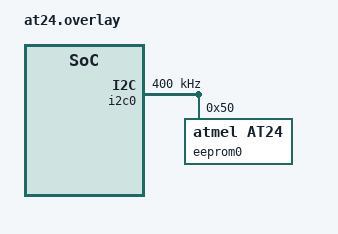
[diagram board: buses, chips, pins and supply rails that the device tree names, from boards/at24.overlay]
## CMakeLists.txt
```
# SPDX-License-Identifier: Apache-2.0

cmake_minimum_required(VERSION 3.28.0)
find_package(Zephyr REQUIRED HINTS $ENV{ZEPHYR_BASE})
project(i2c_at24)

# Board vendors should provide boards/<BOARD>.overlay (or pass
# EXTRA_DTC_OVERLAY_FILE) with an AT24-compatible EEPROM description.
# Zephyr's standard overlay discovery handles that automatically.
target_sources(app PRIVATE src/i2c_at24.c)
```

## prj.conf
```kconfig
CONFIG_I2C=y
CONFIG_ZTEST=y
CONFIG_EEPROM=n
```

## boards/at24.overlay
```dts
/*
 * Copyright (c) 2025 Alif Semiconductor
 *
 * SPDX-License-Identifier: Apache-2.0
 */

/*
 * Example board overlay for this test.
 *
 * Copy this to boards/<BOARD>.overlay, or pass it through
 * EXTRA_DTC_OVERLAY_FILE, then update the bus instance and EEPROM
 * properties to match the actual AT24-compatible device on the board.
 *
 * If the board has more than one AT24-compatible EEPROM, keep the
 * standard eeprom-0 alias so the test can select the intended target.
 */

/ {
	aliases {
		eeprom-0 = &eeprom0;
	};
};

&i2c0 {
	status = "okay";
	/* Set this to the bus speed the board wiring and EEPROM support. */
	clock-frequency = <I2C_BITRATE_FAST>;

	eeprom0: eeprom@50 {
		compatible = "atmel,at24";
		reg = <0x50>;
		size = <256>;
		pagesize = <8>;
		address-width = <8>;
		timeout = <5>;
	};
};
```

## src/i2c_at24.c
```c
/*
 * Copyright (c) 2025 Alif Semiconductor
 *
 * SPDX-License-Identifier: Apache-2.0
 */

/*
 * I2C controller driver test using AT24 EEPROM as target fixture.
 * Validates raw I2C, RTIO, and PM APIs.
 * CONFIG_EEPROM=n prevents driver contention.
 */

#include <string.h>
#include <zephyr/drivers/i2c.h>
#include <zephyr/kernel.h>
#include <zephyr/ztest.h>

#ifdef CONFIG_PM_DEVICE_RUNTIME
#include <zephyr/pm/device_runtime.h>
#endif

#if DT_NODE_HAS_STATUS_OKAY(DT_ALIAS(eeprom_0)) && \
	DT_NODE_HAS_COMPAT(DT_ALIAS(eeprom_0), atmel_at24)
#define EEPROM_NODE DT_ALIAS(eeprom_0)
#elif DT_NUM_INST_STATUS_OKAY(atmel_at24) == 1
#define EEPROM_NODE DT_COMPAT_GET_ANY_STATUS_OKAY(atmel_at24)
#elif DT_HAS_COMPAT_STATUS_OKAY(atmel_at24)
#error "Multiple AT24 EEPROMs found; define the 'eeprom-0' alias to select one"
#else
#error "Add an enabled AT24-compatible EEPROM node or define " \
	"the 'eeprom-0' alias"
#endif

#define EEPROM_SIZE		DT_PROP(EEPROM_NODE, size)
#define PAGE_SIZE		DT_PROP(EEPROM_NODE, pagesize)
#define ADDR_WIDTH		DT_PROP(EEPROM_NODE, address_width)
#define ADDR_BYTES		(ADDR_WIDTH / 8)
#define EEPROM_WRITE_TIME_MS	DT_PROP(EEPROM_NODE, timeout)

BUILD_ASSERT((ADDR_WIDTH == 8) || (ADDR_WIDTH == 16),
	     "EEPROM address-width must be 8 or 16 bits");
BUILD_ASSERT((ADDR_WIDTH % 8) == 0,
	     "EEPROM address-width must be a whole number of bytes");
BUILD_ASSERT(PAGE_SIZE > 0, "EEPROM pagesize must be greater than zero");
BUILD_ASSERT(EEPROM_SIZE > 0, "EEPROM size must be greater than zero");
BUILD_ASSERT(PAGE_SIZE <= EEPROM_SIZE,
	     "EEPROM pagesize must not exceed the total device size");
BUILD_ASSERT(!DT_PROP_OR(EEPROM_NODE, read_only, 0),
	     "i2c_at24 test requires a writable EEPROM");
BUILD_ASSERT(IS_POWER_OF_TWO(PAGE_SIZE),
	     "EEPROM pagesize must be a power of two");

#define TEST_AREA_BASE 0x00

#define UNCLAIMABLE_I2C_ADDR 0x7f

static const struct i2c_dt_spec eeprom = I2C_DT_SPEC_GET(EEPROM_NODE);
static uint8_t tx_buf[ADDR_BYTES + PAGE_SIZE];
static uint8_t rx_buf[PAGE_SIZE];

/* Encode EEPROM memory address into buffer (8 or 16 bit). */
static void eeprom_addr_encode(uint8_t *buf, uint16_t mem_addr)
{
	if (ADDR_BYTES == 2) {
		buf[0] = (uint8_t)(mem_addr >> 8);
		buf[1] = (uint8_t)(mem_addr & 0xFF);
	} else {
		buf[0] = (uint8_t)(mem_addr & 0xFF);
	}
}

/* Write up to one page to EEPROM (blocking). */
static void eeprom_page_write(uint16_t mem_addr, const uint8_t *data,
			      size_t len)
{
	int ret;

	zassert_true(len <= PAGE_SIZE, "Write exceeds page size");
	eeprom_addr_encode(tx_buf, mem_addr);
	memcpy(&tx_buf[ADDR_BYTES], data, len);

	ret = i2c_write(eeprom.bus, tx_buf, ADDR_BYTES + len, eeprom.addr);
	zassert_ok(ret, "EEPROM page write failed: %d", ret);
	k_msleep(EEPROM_WRITE_TIME_MS);
}

/* Read from EEPROM using write-read transaction (blocking). */
static void eeprom_read(uint16_t mem_addr, uint8_t *buf, size_t len)
{
	uint8_t addr_buf[ADDR_BYTES];
	int ret;

	eeprom_addr_encode(addr_buf, mem_addr);
	ret = i2c_write_read(eeprom.bus, eeprom.addr, addr_buf,
			     ADDR_BYTES, buf, len);
	zassert_ok(ret, "EEPROM read failed: %d", ret);
}

/* Fill buffer with incrementing pattern starting from seed. */
static void fill_pattern(uint8_t *buf, size_t len, uint8_t seed)
{
	for (size_t i = 0; i < len; i++) {
		buf[i] = (seed + (uint8_t)i) & 0xFF;
	}
}

/* Test suite setup: verify I2C bus is ready. */
static void *i2c_at24_setup(void)
{
	zassert_true(i2c_is_ready_dt(&eeprom), "I2C bus device is not ready");
	return NULL;
}

/* Pre-test hook: clear buffers, acquire PM runtime if enabled. */
static void i2c_at24_before(void *f)
{
	ARG_UNUSED(f);
	memset(rx_buf, 0, sizeof(rx_buf));
	memset(tx_buf, 0, sizeof(tx_buf));

#ifdef CONFIG_PM_DEVICE_RUNTIME
	pm_device_runtime_get(eeprom.bus);
#endif
}

/* Post-test hook: release PM runtime if enabled. */
static void i2c_at24_after(void *f)
{
	ARG_UNUSED(f);

#ifdef CONFIG_PM_DEVICE_RUNTIME
	pm_device_runtime_put(eeprom.bus);
#endif
}

/* Test basic page write and read. */
ZTEST(i2c_at24, test_write_read_basic)
{
	uint8_t pattern[PAGE_SIZE];

	fill_pattern(pattern, sizeof(pattern), 0xA0);
	eeprom_page_write(TEST_AREA_BASE, pattern, sizeof(pattern));
	eeprom_read(TEST_AREA_BASE, rx_buf, sizeof(pattern));

	zassert_mem_equal(pattern, rx_buf, sizeof(pattern),
			  "Basic write/read data mismatch");
}

/* Test repeated-start read transfer. */
ZTEST(i2c_at24, test_transfer_restart)
{
	struct i2c_msg msgs[2];
	uint8_t addr_buf[ADDR_BYTES];
	uint8_t pattern[PAGE_SIZE];
	int ret;

	fill_pattern(pattern, sizeof(pattern), 0xB0);
	eeprom_page_write(TEST_AREA_BASE, pattern, sizeof(pattern));

	eeprom_addr_encode(addr_buf, TEST_AREA_BASE);

	msgs[0].buf = addr_buf;
	msgs[0].len = ADDR_BYTES;
	msgs[0].flags = I2C_MSG_WRITE;

	msgs[1].buf = rx_buf;
	msgs[1].len = sizeof(pattern);
	msgs[1].flags = I2C_MSG_RESTART | I2C_MSG_READ | I2C_MSG_STOP;

	ret = i2c_transfer(eeprom.bus, msgs, 2, eeprom.addr);
	zassert_ok(ret, "i2c_transfer (restart read) failed: %d", ret);

	zassert_mem_equal(pattern, rx_buf, sizeof(pattern),
			  "Data mismatch on transfer restart read");
}

/* Test burst write/read helpers (8-bit address devices only). */
ZTEST(i2c_at24, test_burst_write_read)
{
	uint8_t pattern[PAGE_SIZE];
	int ret;

	if (ADDR_BYTES != 1) {
		ztest_test_skip();
		return;
	}

	fill_pattern(pattern, sizeof(pattern), 0xC0);

	ret = i2c_burst_write(eeprom.bus, eeprom.addr,
				(uint8_t)TEST_AREA_BASE, pattern,
				sizeof(pattern));
	zassert_ok(ret, "i2c_burst_write failed: %d", ret);
	k_msleep(EEPROM_WRITE_TIME_MS);

	ret = i2c_burst_read(eeprom.bus, eeprom.addr,
			     (uint8_t)TEST_AREA_BASE, rx_buf,
			     sizeof(pattern));
	zassert_ok(ret, "i2c_burst_read failed: %d", ret);

	zassert_mem_equal(pattern, rx_buf, sizeof(pattern),
			  "Burst write/read data mismatch");
}

/* Test register byte read/write (8-bit address devices only). */
ZTEST(i2c_at24, test_reg_byte_rw)
{
	uint8_t val;
	int ret;

	if (ADDR_BYTES != 1) {
		ztest_test_skip();
		return;
	}

	ret = i2c_reg_write_byte(eeprom.bus, eeprom.addr,
				 (uint8_t)TEST_AREA_BASE, 0x5A);
	zassert_ok(ret, "i2c_reg_write_byte failed: %d", ret);
	k_msleep(EEPROM_WRITE_TIME_MS);

	ret = i2c_reg_read_byte(eeprom.bus, eeprom.addr,
				(uint8_t)TEST_AREA_BASE, &val);
	zassert_ok(ret, "i2c_reg_read_byte failed: %d", ret);
	zassert_equal(val, 0x5A,
		      "reg byte mismatch: expected 0x5A got 0x%02x",
		      val);
}

/* Test register byte update (8-bit address devices only). */
ZTEST(i2c_at24, test_reg_update_byte)
{
	uint8_t val;
	int ret;

	if (ADDR_BYTES != 1) {
		ztest_test_skip();
		return;
	}

	ret = i2c_reg_write_byte(eeprom.bus, eeprom.addr,
				 (uint8_t)TEST_AREA_BASE, 0xFF);
	zassert_ok(ret, "Pre-write failed: %d", ret);
	k_msleep(EEPROM_WRITE_TIME_MS);

	ret = i2c_reg_update_byte(eeprom.bus, eeprom.addr,
				  (uint8_t)TEST_AREA_BASE, 0x0F, 0x00);
	zassert_ok(ret, "i2c_reg_update_byte failed: %d", ret);
	k_msleep(EEPROM_WRITE_TIME_MS);

	ret = i2c_reg_read_byte(eeprom.bus, eeprom.addr,
				(uint8_t)TEST_AREA_BASE, &val);
	zassert_ok(ret, "Post-update read failed: %d", ret);
	zassert_equal(val, 0xF0,
		      "reg_update_byte: expected 0xF0 got 0x%02x",
		      val);
}

/* Test NACK response from invalid address. */
ZTEST(i2c_at24, test_nack_invalid_addr)
{
	uint8_t dummy;
	int ret;
	uint16_t bad_addr = UNCLAIMABLE_I2C_ADDR;

	ret = i2c_read(eeprom.bus, &dummy, 1, bad_addr);
	zassert_equal(ret, -EIO, "Expected -EIO for invalid addr, got %d", ret);

	eeprom_read(TEST_AREA_BASE, rx_buf, 1);
}

/* Test bus recovery (skipped if not supported). */
ZTEST(i2c_at24, test_bus_recovery)
{
	int ret;

	ret = i2c_recover_bus(eeprom.bus);
	if (ret == -ENOSYS) {
		ztest_test_skip();
		return;
	}

	zassert_ok(ret, "i2c_recover_bus failed: %d", ret);

	eeprom_read(TEST_AREA_BASE, rx_buf, 1);
}

/* Test data integrity with multiple patterns. */
ZTEST(i2c_at24, test_data_integrity_patterns)
{
	static const uint8_t seeds[] = {0x00, 0x55, 0xAA, 0xFF};
	uint8_t pattern[PAGE_SIZE];

	for (size_t i = 0; i < ARRAY_SIZE(seeds); i++) {
		fill_pattern(pattern, sizeof(pattern), seeds[i]);
		eeprom_page_write(TEST_AREA_BASE, pattern, sizeof(pattern));
		eeprom_read(TEST_AREA_BASE, rx_buf, sizeof(pattern));
		zassert_mem_equal(pattern, rx_buf, sizeof(pattern),
				  "Data integrity failed for seed 0x%02x",
				  seeds[i]);
	}
}

/* Test multi-message scatter-gather write. */
ZTEST(i2c_at24, test_transfer_multi_msg_write)
{
	struct i2c_msg msgs[2];
	uint8_t addr_buf[ADDR_BYTES];
	uint8_t pattern[PAGE_SIZE];
	int ret;

	fill_pattern(pattern, sizeof(pattern), 0xD0);
	eeprom_addr_encode(addr_buf, TEST_AREA_BASE);

	msgs[0].buf = addr_buf;
	msgs[0].len = ADDR_BYTES;
	msgs[0].flags = I2C_MSG_WRITE;

	msgs[1].buf = pattern;
	msgs[1].len = sizeof(pattern);
	msgs[1].flags = I2C_MSG_WRITE | I2C_MSG_STOP;

	ret = i2c_transfer(eeprom.bus, msgs, 2, eeprom.addr);
	zassert_ok(ret, "Multi-msg write failed: %d", ret);
	k_msleep(EEPROM_WRITE_TIME_MS);

	eeprom_read(TEST_AREA_BASE, rx_buf, sizeof(pattern));
	zassert_mem_equal(pattern, rx_buf, sizeof(pattern),
			  "Data mismatch on scatter-gather write");
}

/* Test consecutive reads return identical data. */
ZTEST(i2c_at24, test_read_consistency)
{
	uint8_t rd1[PAGE_SIZE];
	uint8_t rd2[PAGE_SIZE];
	uint8_t pattern[PAGE_SIZE];

	fill_pattern(pattern, sizeof(pattern), 0xE0);
	eeprom_page_write(TEST_AREA_BASE, pattern, sizeof(pattern));

	eeprom_read(TEST_AREA_BASE, rd1, sizeof(rd1));
	eeprom_read(TEST_AREA_BASE, rd2, sizeof(rd2));

	zassert_mem_equal(rd1, rd2, sizeof(rd1),
			  "Consecutive reads returned different data");
	zassert_mem_equal(pattern, rd1, sizeof(pattern),
			  "Read data does not match written pattern");
}

#ifdef CONFIG_I2C_CALLBACK
static K_SEM_DEFINE(cb_sem, 0, 1);

/* Async transfer completion callback. */
static void eeprom_transfer_cb(const struct device *dev, int result, void *data)
{
	ARG_UNUSED(dev);
	ARG_UNUSED(data);

	zassert_ok(result, "Async transfer error: %d", result);
	k_sem_give(&cb_sem);
}

/* Test async callback transfer (skipped if not supported). */
ZTEST(i2c_at24, test_transfer_async_cb)
{
	struct i2c_msg msgs[2];
	uint8_t addr_buf[ADDR_BYTES];
	uint8_t pattern[PAGE_SIZE];
	int ret;

	fill_pattern(pattern, sizeof(pattern), 0xF0);
	eeprom_page_write(TEST_AREA_BASE, pattern, sizeof(pattern));

	eeprom_addr_encode(addr_buf, TEST_AREA_BASE);

	msgs[0].buf = addr_buf;
	msgs[0].len = ADDR_BYTES;
	msgs[0].flags = I2C_MSG_WRITE;

	msgs[1].buf = rx_buf;
	msgs[1].len = sizeof(pattern);
	msgs[1].flags = I2C_MSG_RESTART | I2C_MSG_READ | I2C_MSG_STOP;

	k_sem_reset(&cb_sem);

	ret = i2c_transfer_cb_dt(&eeprom, msgs, ARRAY_SIZE(msgs),
				 eeprom_transfer_cb, NULL);
	if (ret == -ENOSYS) {
		ztest_test_skip();
		return;
	}

	zassert_ok(ret, "i2c_transfer_cb failed: %d", ret);

	zassert_ok(k_sem_take(&cb_sem, K_MSEC(1000)),
		   "Async callback timed out");

	zassert_mem_equal(pattern, rx_buf, sizeof(pattern),
			  "Async read data mismatch");
}
#endif /* CONFIG_I2C_CALLBACK */

#ifdef CONFIG_I2C_RTIO
#include <zephyr/rtio/rtio.h>

I2C_DT_IODEV_DEFINE(eeprom_iodev, EEPROM_NODE);
RTIO_DEFINE(eeprom_rtio, 8, 8);

/* Write up to one page using RTIO. */
static void eeprom_page_write_rtio(uint16_t mem_addr, const uint8_t *data,
				     size_t len)
{
	struct rtio_sqe *sqe;
	struct rtio_cqe *cqe;
	int ret;

	zassert_true(len <= PAGE_SIZE, "Write exceeds page size");
	eeprom_addr_encode(tx_buf, mem_addr);
	memcpy(&tx_buf[ADDR_BYTES], data, len);

	sqe = rtio_sqe_acquire(&eeprom_rtio);
	zassert_not_null(sqe, "SQE pool exhausted");
	rtio_sqe_prep_write(sqe, &eeprom_iodev, RTIO_PRIO_NORM,
			    tx_buf, ADDR_BYTES + len, NULL);
	sqe->iodev_flags |= RTIO_IODEV_I2C_STOP;

	ret = rtio_submit(&eeprom_rtio, 1);
	zassert_ok(ret, "RTIO submit failed: %d", ret);

	do {
		cqe = rtio_cqe_consume(&eeprom_rtio);
	} while (cqe == NULL);
	ret = cqe->result;
	rtio_cqe_release(&eeprom_rtio, cqe);
	zassert_ok(ret, "EEPROM page write failed: %d", ret);

	k_msleep(EEPROM_WRITE_TIME_MS);
}

/* Read from EEPROM using RTIO write-read transaction. */
static void eeprom_read_rtio(uint16_t mem_addr, uint8_t *buf, size_t len)
{
	struct rtio_sqe *wr_sqe, *rd_sqe;
	struct rtio_cqe *cqe;
	uint8_t addr_buf[ADDR_BYTES];
	int ret;

	eeprom_addr_encode(addr_buf, mem_addr);

	wr_sqe = rtio_sqe_acquire(&eeprom_rtio);
	rd_sqe = rtio_sqe_acquire(&eeprom_rtio);
	zassert_not_null(wr_sqe, "SQE pool exhausted");
	zassert_not_null(rd_sqe, "SQE pool exhausted");

	rtio_sqe_prep_write(wr_sqe, &eeprom_iodev, RTIO_PRIO_NORM,
			    addr_buf, ADDR_BYTES, NULL);
	rtio_sqe_prep_read(rd_sqe, &eeprom_iodev, RTIO_PRIO_NORM,
			   buf, len, NULL);

	wr_sqe->flags |= RTIO_SQE_TRANSACTION;
	rd_sqe->iodev_flags |= RTIO_IODEV_I2C_RESTART |
			       RTIO_IODEV_I2C_STOP;

	ret = rtio_submit(&eeprom_rtio, 2);
	zassert_ok(ret, "RTIO submit failed: %d", ret);

	cqe = rtio_cqe_consume(&eeprom_rtio);
	zassert_not_null(cqe, "missing write CQE");
	ret = cqe->result;
	rtio_cqe_release(&eeprom_rtio, cqe);
	zassert_ok(ret, "EEPROM address write failed: %d", ret);

	cqe = rtio_cqe_consume(&eeprom_rtio);
	zassert_not_null(cqe, "missing read CQE");
	ret = cqe->result;
	rtio_cqe_release(&eeprom_rtio, cqe);
	zassert_ok(ret, "EEPROM read failed: %d", ret);
}

/* Test basic RTIO page write and read. */
ZTEST(i2c_at24, test_write_read_basic_rtio)
{
	uint8_t pattern[PAGE_SIZE];

	fill_pattern(pattern, sizeof(pattern), 0xA0);
	eeprom_page_write_rtio(TEST_AREA_BASE, pattern, sizeof(pattern));
	eeprom_read_rtio(TEST_AREA_BASE, rx_buf, sizeof(pattern));

	zassert_mem_equal(pattern, rx_buf, sizeof(pattern),
			  "RTIO basic write/read data mismatch");
}

/* Test RTIO repeated-start read transfer. */
ZTEST(i2c_at24, test_transfer_restart_rtio)
{
	struct rtio_sqe *wr_sqe, *rd_sqe;
	struct rtio_cqe *cqe;
	uint8_t addr_buf[ADDR_BYTES];
	uint8_t pattern[PAGE_SIZE];
	int ret;

	fill_pattern(pattern, sizeof(pattern), 0xB0);
	eeprom_page_write_rtio(TEST_AREA_BASE, pattern, sizeof(pattern));

	eeprom_addr_encode(addr_buf, TEST_AREA_BASE);

	wr_sqe = rtio_sqe_acquire(&eeprom_rtio);
	rd_sqe = rtio_sqe_acquire(&eeprom_rtio);
	zassert_not_null(wr_sqe, "SQE pool exhausted");
	zassert_not_null(rd_sqe, "SQE pool exhausted");

	rtio_sqe_prep_write(wr_sqe, &eeprom_iodev, RTIO_PRIO_NORM,
			    addr_buf, ADDR_BYTES, NULL);
	rtio_sqe_prep_read(rd_sqe, &eeprom_iodev, RTIO_PRIO_NORM,
			   rx_buf, sizeof(pattern), NULL);

	wr_sqe->flags |= RTIO_SQE_TRANSACTION;
	rd_sqe->iodev_flags |= RTIO_IODEV_I2C_RESTART |
			       RTIO_IODEV_I2C_STOP;

	ret = rtio_submit(&eeprom_rtio, 2);
	zassert_ok(ret, "RTIO submit failed: %d", ret);

	cqe = rtio_cqe_consume(&eeprom_rtio);
	zassert_not_null(cqe, "missing write CQE");
	ret = cqe->result;
	rtio_cqe_release(&eeprom_rtio, cqe);
	zassert_ok(ret, "write failed: %d", ret);

	cqe = rtio_cqe_consume(&eeprom_rtio);
	zassert_not_null(cqe, "missing read CQE");
	ret = cqe->result;
	rtio_cqe_release(&eeprom_rtio, cqe);
	zassert_ok(ret, "read failed: %d", ret);

	zassert_mem_equal(pattern, rx_buf, sizeof(pattern),
			  "RTIO data mismatch on transfer restart read");
}

/* Test RTIO multi-message scatter-gather write. */
ZTEST(i2c_at24, test_transfer_multi_msg_write_rtio)
{
	struct rtio_sqe *wr_addr, *wr_data;
	struct rtio_cqe *cqe;
	uint8_t addr_buf[ADDR_BYTES];
	uint8_t pattern[PAGE_SIZE];
	int ret;

	fill_pattern(pattern, sizeof(pattern), 0xD0);
	eeprom_addr_encode(addr_buf, TEST_AREA_BASE);

	wr_addr = rtio_sqe_acquire(&eeprom_rtio);
	wr_data = rtio_sqe_acquire(&eeprom_rtio);
	zassert_not_null(wr_addr, "SQE pool exhausted");
	zassert_not_null(wr_data, "SQE pool exhausted");

	rtio_sqe_prep_write(wr_addr, &eeprom_iodev, RTIO_PRIO_NORM,
			    addr_buf, ADDR_BYTES, NULL);
	rtio_sqe_prep_write(wr_data, &eeprom_iodev, RTIO_PRIO_NORM,
			    pattern, sizeof(pattern), NULL);

	wr_addr->flags |= RTIO_SQE_TRANSACTION;
	wr_data->iodev_flags |= RTIO_IODEV_I2C_STOP;

	ret = rtio_submit(&eeprom_rtio, 2);
	zassert_ok(ret, "RTIO submit failed: %d", ret);

	cqe = rtio_cqe_consume(&eeprom_rtio);
	zassert_not_null(cqe, "missing address CQE");
	ret = cqe->result;
	rtio_cqe_release(&eeprom_rtio, cqe);
	zassert_ok(ret, "address write failed: %d", ret);

	cqe = rtio_cqe_consume(&eeprom_rtio);
	zassert_not_null(cqe, "missing data CQE");
	ret = cqe->result;
	rtio_cqe_release(&eeprom_rtio, cqe);
	zassert_ok(ret, "data write failed: %d", ret);

	k_msleep(EEPROM_WRITE_TIME_MS);

	eeprom_read_rtio(TEST_AREA_BASE, rx_buf, sizeof(pattern));
	zassert_mem_equal(pattern, rx_buf, sizeof(pattern),
			  "RTIO data mismatch on scatter-gather write");
}

/* Test RTIO data integrity with multiple patterns. */
ZTEST(i2c_at24, test_data_integrity_patterns_rtio)
{
	static const uint8_t seeds[] = {0x00, 0x55, 0xAA, 0xFF};
	uint8_t pattern[PAGE_SIZE];

	for (size_t i = 0; i < ARRAY_SIZE(seeds); i++) {
		fill_pattern(pattern, sizeof(pattern), seeds[i]);
		eeprom_page_write_rtio(TEST_AREA_BASE, pattern, sizeof(pattern));
		eeprom_read_rtio(TEST_AREA_BASE, rx_buf, sizeof(pattern));
		zassert_mem_equal(pattern, rx_buf, sizeof(pattern),
				  "RTIO data integrity failed for seed 0x%02x",
				  seeds[i]);
	}
}
#endif /* CONFIG_I2C_RTIO */

ZTEST_SUITE(i2c_at24, NULL, i2c_at24_setup, i2c_at24_before, i2c_at24_after, NULL);
```
